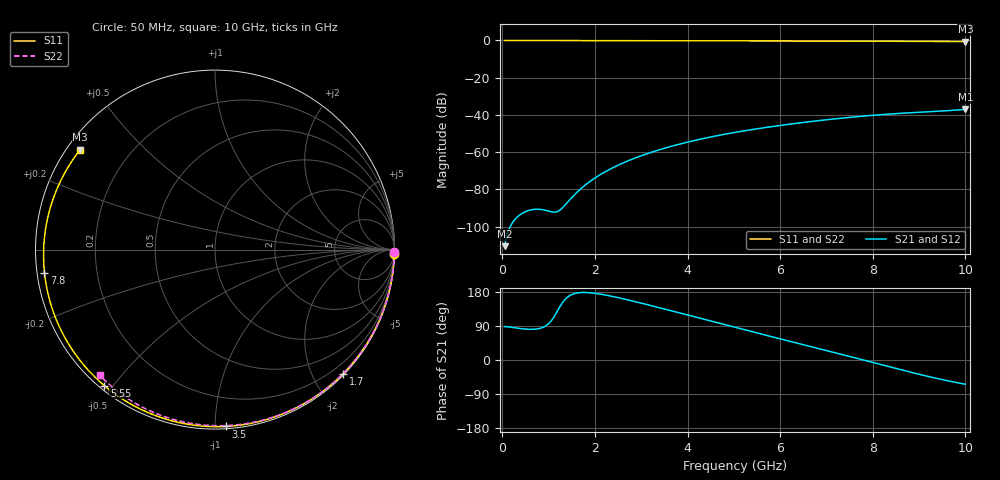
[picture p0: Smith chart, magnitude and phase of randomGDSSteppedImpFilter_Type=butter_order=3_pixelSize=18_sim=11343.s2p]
! freq	dB(S11)	phase(S11)	dB(S12)	phase(S12)
!  dB(S21)	phase(S21)	dB(S22)	phase(S22)
!S-par simulation data
#  GHz  S  DB  R 50
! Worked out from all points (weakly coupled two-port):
!   200 points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, 50 MHz to 10 GHz, reference 50 ohm
!   highest |S21| = -36.94 dB at 10 GHz (marker M1); lowest = -110.4 dB at 50 MHz (marker M2)
!   lowest |S11| = -0.6 dB at 10 GHz (marker M3), VSWR 29.72, Z = 1.87 + j16.5 ohm
!   |S11| at or under -10 dB: nowhere
!   |S22| runs from -0.4 to 0.0 dB; largest |S21 - S12| = 0
!   S11 on the Smith chart (normalised r, x): 50 MHz: 0, -86; 1.7 GHz: 0.02, -2.47; 3.5 GHz: 0.01, -1.06; 5.55 GHz: 0.01, -0.48; 7.8 GHz: 0.02, -0.07; 10 GHz: 0.04, +0.33
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0.05  -0.00 -1.3  -110.45 88.4  -110.45 88.4  -0.00 -0.8
0.45  -0.02 -11.9  -92.53 82.1  -92.53 82.1  -0.01 -6.9
0.85  -0.03 -22.3  -90.79 85.0  -90.79 85.0  -0.02 -12.9
1.25  -0.04 -32.7  -90.99 142.0  -90.99 142.0  -0.02 -19.0
1.65  -0.05 -42.8  -80.63 177.5  -80.63 177.5  -0.03 -24.9
1.7  -0.06 -44.0  -79.51 178.0  -79.51 178.0  -0.03 -25.7
1.75  -0.06 -45.3  -78.45 178.2  -78.45 178.2  -0.03 -26.4
2.05  -0.07 -52.7  -73.04 175.1  -73.04 175.1  -0.04 -30.8
2.45  -0.08 -62.4  -67.57 165.9  -67.57 165.9  -0.05 -36.7
2.9  -0.09 -72.9  -62.82 153.1  -62.82 153.1  -0.06 -43.2
3.4  -0.11 -84.3  -58.62 137.7  -58.62 137.7  -0.07 -50.3
3.5  -0.11 -86.5  -57.88 134.6  -57.88 134.6  -0.07 -51.7
4.25  -0.14 -102.7  -53.14 110.8  -53.14 110.8  -0.09 -62.1
5.05  -0.18 -119.2  -49.24 85.4  -49.24 85.4  -0.11 -72.8
5.55  -0.20 -129.1  -47.23 69.8  -47.23 69.8  -0.13 -79.3
6.15  -0.24 -140.8  -45.13 51.3  -45.13 51.3  -0.15 -86.9
6.7  -0.28 -151.4  -43.43 34.3  -43.43 34.3  -0.18 -93.8
7.25  -0.32 -161.8  -41.92 17.3  -41.92 17.3  -0.21 -100.5
7.8  -0.37 -172.3  -40.61 -0.1  -40.61 -0.1  -0.25 -107.0
8.35  -0.42 177.1  -39.53 -17.6  -39.53 -17.6  -0.29 -113.5
9.2  -0.50 160.2  -38.28 -43.5  -38.28 -43.5  -0.36 -123.3
10  -0.58 143.5  -36.94 -64.0  -36.94 -64.0  -0.45 -132.4
